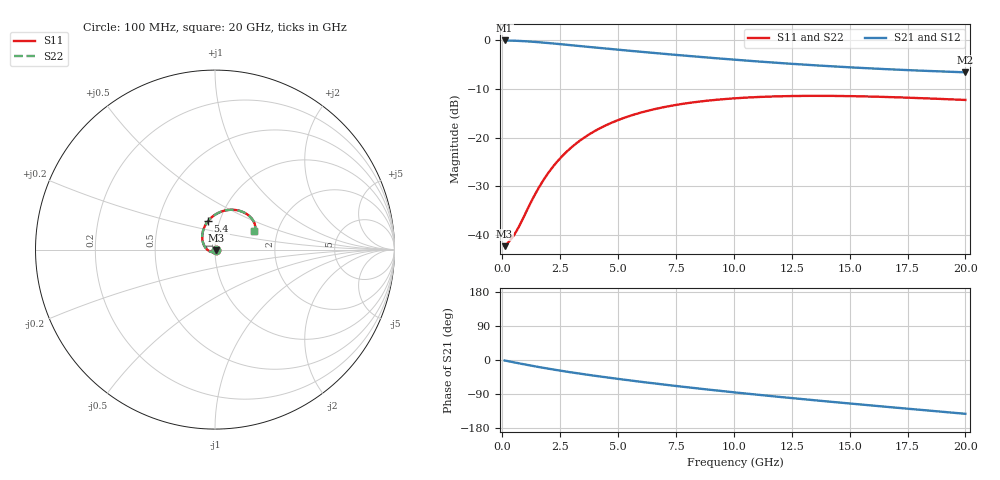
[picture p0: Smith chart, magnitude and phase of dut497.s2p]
! Touchstone file exported from HFSS 2024.1.0
!  File:  C:/UserFiles/LocalFiles/RDL_TSV_Batchsim/temp_RDL_TSV_497_1779736332.aedt
!  Generated:  03:30:06 AM May 26, 2026
!  Design:  RDL_TSV
!  Project:  temp_RDL_TSV_497_1779736332
!  Setup:  Setup1
!  Solution:  Sweep
! Variables:
!  dtsv = 6.82um
!  hbump = 3um
!  htsv = 92.79um
!  ldown = 270.33um
!  lrdl = 235.34um
!  p = 40
!  p1 = 44.06um
!  rhole = 10um
!  subl = 1752.35um
!  t = 450um
!  tdown = 4.17um
!  trdl = 4.83um
!  viad = 10um
!  wdown = 22.84um
!  wrdl = 26.32um
!  xbump = 18um
# GHz S MA R 50.000000
! Terminal data exported
! Port[1] = TM1_1_T1
! Port[2] = TM1_4_T1
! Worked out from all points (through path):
!   200 points, 100 MHz to 20 GHz, reference 50 ohm
!   highest |S21| = -0.07 dB at 100 MHz (marker M1); lowest = -6.6 dB at 20 GHz (marker M2)
!   group delay of S21, straight-line fit = 18.7 ps
!   lowest |S11| = -42.3 dB at 100 MHz (marker M3), VSWR 1.02, Z = 50.8 - j0.15 ohm
!   |S11| at or under -10 dB: start of sweep to end of sweep
!   |S22| runs from -42.3 to -11.4 dB; largest |S21 - S12| = 9.7e-15
!   S11 on the Smith chart (normalised r, x): 100 MHz: 1.02, -0.00; 5.4 GHz: 0.88, +0.29; 20 GHz: 1.52, +0.34
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0.1  0.00768 -11.1  0.9921 -1.3  0.9921 -1.3  0.00768 -11.1
! Gamma 0 0 0 0
! Port Impedance 50 0 50 0
0.4  0.009209 -51.9  0.9883 -4.9  0.9883 -4.9  0.009211 -51.9
0.6  0.01085 -78.5  0.9845 -7.3  0.9845 -7.3  0.01085 -78.5
1.4  0.02577 -150.7  0.9593 -16.6  0.9593 -16.6  0.02577 -150.7
1.7  0.03427 -167.0  0.9468 -19.9  0.9468 -19.9  0.03426 -167.0
2  0.04383 179.7  0.9332 -23.1  0.9332 -23.1  0.04381 179.8
2.3  0.05415 168.6  0.9191 -26.1  0.9191 -26.1  0.05412 168.7
2.7  0.06865 156.1  0.9 -30.0  0.9 -30.0  0.06862 156.2
3.1  0.08357 145.5  0.881 -33.7  0.881 -33.7  0.08352 145.5
3.5  0.09853 136.2  0.8623 -37.3  0.8623 -37.3  0.09848 136.3
3.9  0.1132 128.0  0.8442 -40.8  0.8442 -40.8  0.1132 128.1
4.4  0.131 119.0  0.8224 -45.0  0.8224 -45.0  0.131 119.0
5.4  0.1636 103.7  0.7814 -53.0  0.7814 -53.0  0.1635 103.8
6.1  0.1835 94.8  0.7547 -58.4  0.7547 -58.4  0.1835 94.8
6.8  0.2011 86.9  0.7293 -63.5  0.7293 -63.5  0.201 86.9
8.3  0.2307 72.7  0.6796 -74.1  0.6796 -74.1  0.2306 72.7
10.1  0.2534 59.3  0.6277 -85.9  0.6277 -85.9  0.2534 59.4
11.7  0.2641 49.9  0.5884 -95.8  0.5884 -95.8  0.2641 49.9
13.4  0.268 41.9  0.5533 -105.7  0.5533 -105.7  0.268 41.9
15  0.2663 35.9  0.5259 -114.8  0.5259 -114.8  0.2663 35.9
16.7  0.2605 31.0  0.5019 -124.2  0.5019 -124.2  0.2606 31.0
20  0.2432 25.7  0.4674 -142.0  0.4674 -142.0  0.2434 25.6
